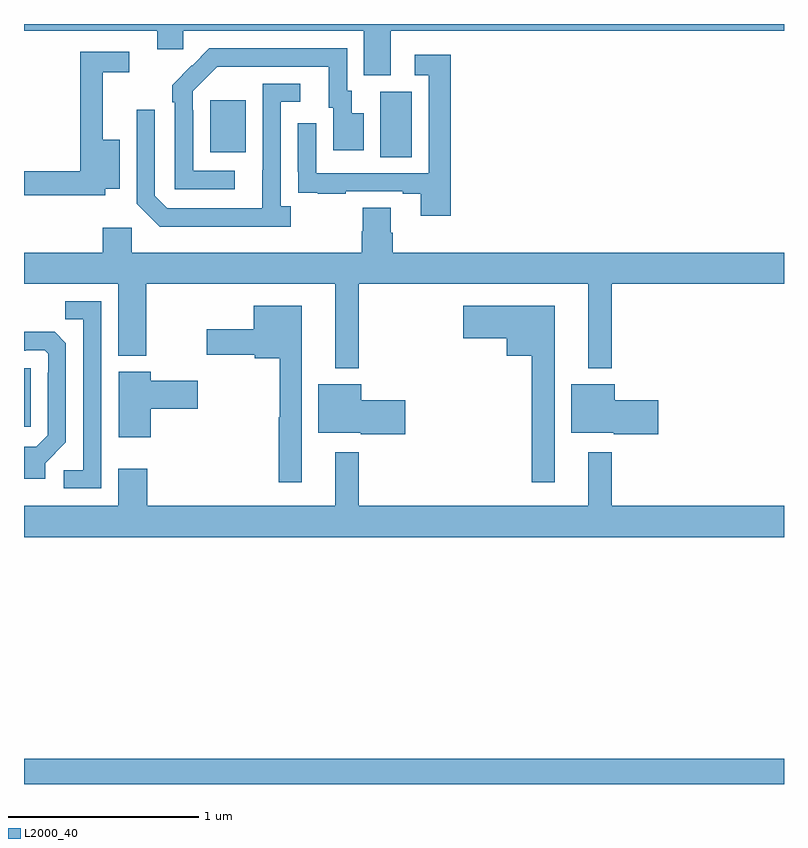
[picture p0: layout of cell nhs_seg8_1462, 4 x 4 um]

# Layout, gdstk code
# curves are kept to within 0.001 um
import gdstk
lib = gdstk.Library(unit=1e-6, precision=1e-09)
def R(c, l, rs):  # rectangles x0, y0, x1, y1
    for r in rs: c.add(gdstk.rectangle(r[:2], r[2:], *l))
def P(c, l, *ps):  # polygons
    for p in ps: c.add(gdstk.Polygon(p, *l))
L2000_40 = (2000, 40)

nhs_seg8_1462 = lib.new_cell('nhs_seg8_1462')
R(nhs_seg8_1462, L2000_40, [(205,1081.9,209,1082.032), (205,1083.78,205.035,1084.089), (206.876,1085.2,207.04,1085.544), (205.979,1085.225,206.167,1085.5)])
P(nhs_seg8_1462, L2000_40, [(206.929,1085.864),(209,1085.864),(209,1085.9),(205,1085.9),(205,1085.864),(205.7,1085.864),(205.7,1085.766),(205.839,1085.766),(205.839,1085.864),(206.789,1085.864),(206.789,1085.629),(206.929,1085.629)],
  [(206.11,1085.127),(205.89,1085.127),(205.89,1085.447),(205.887,1085.447),(205.887,1085.547),(206.016,1085.676),(206.603,1085.676),(206.603,1085.46),(206.627,1085.46),(206.627,1085.235),(206.788,1085.235),(206.788,1085.431),(206.725,1085.431),(206.725,1085.55),(206.7,1085.55),(206.7,1085.772),(205.976,1085.772),(205.779,1085.577),(205.779,1085.489),(205.794,1085.489),(205.794,1085.031),(206.11,1085.031)],
  [(205.428,1085.033),(205.504,1085.033),(205.504,1085.29),(205.415,1085.29),(205.415,1085.646),(205.555,1085.646),(205.555,1085.754),(205.297,1085.754),(205.297,1085.126),(205,1085.126),(205,1084.998),(205.428,1084.998)],
  [(207.245,1085.737),(207.057,1085.737),(207.057,1085.631),(207.129,1085.631),(207.129,1085.115),(206.538,1085.115),(206.538,1085.377),(206.442,1085.377),(206.442,1085.122),(206.443,1085.122),(206.443,1085.013),(206.545,1085.013),(206.545,1085.007),(206.693,1085.007),(206.693,1085.019),(206.993,1085.019),(206.993,1085.007),(207.089,1085.007),(207.089,1084.89),(207.245,1084.89)],
  [(206.404,1084.942),(206.352,1084.942),(206.352,1085.49),(206.455,1085.49),(206.455,1085.586),(206.256,1085.586),(206.255,1084.929),(205.755,1084.929),(205.689,1084.995),(205.689,1085.449),(205.593,1085.449),(205.593,1084.953),(205.714,1084.832),(206.404,1084.832)],
  [(206.761,1084.532),(207.971,1084.532),(207.971,1084.088),(208.093,1084.088),(208.093,1084.532),(209,1084.532),(209,1084.696),(206.942,1084.696),(206.942,1084.802),(206.929,1084.802),(206.929,1084.934),(206.782,1084.934),(206.782,1084.809),(206.777,1084.809),(206.777,1084.696),(205.566,1084.696),(205.566,1084.828),(205.415,1084.828),(205.415,1084.696),(205,1084.696),(205,1084.532),(205.496,1084.532),(205.496,1084.154),(205.644,1084.154),(205.644,1084.532),(206.639,1084.532),(206.639,1084.088),(206.761,1084.088)],
  [(205.407,1084.44),(205.216,1084.44),(205.216,1084.345),(205.311,1084.345),(205.311,1083.552),(205.209,1083.552),(205.209,1083.456),(205.407,1083.456)],
  [(206.461,1084.417),(206.21,1084.417),(206.21,1084.294),(205.962,1084.294),(205.962,1084.16),(206.214,1084.16),(206.214,1084.142),(206.347,1084.142),(206.347,1083.83),(206.34,1083.83),(206.34,1083.489),(206.461,1083.489)],
  [(207.793,1084.417),(207.312,1084.417),(207.312,1084.247),(207.542,1084.247),(207.542,1084.154),(207.672,1084.154),(207.672,1083.489),(207.793,1083.489)],
  [(205.111,1083.588),(205.221,1083.698),(205.221,1084.22),(205.162,1084.279),(205,1084.28),(205,1084.179),(205.01,1084.179),(205.01,1084.182),(205.11,1084.182),(205.128,1084.164),(205.128,1084.064),(205.125,1084.064),(205.125,1083.735),(205.065,1083.675),(205,1083.675),(205,1083.506),(205.111,1083.506)],
  [(205.666,1083.875),(205.915,1083.875),(205.915,1084.022),(205.666,1084.022),(205.666,1084.069),(205.499,1084.069),(205.499,1083.726),(205.666,1083.726)],
  [(207.007,1083.92),(206.776,1083.92),(206.776,1084.003),(206.549,1084.003),(206.549,1083.749),(206.772,1083.749),(206.772,1083.742),(207.007,1083.742)],
  [(208.339,1083.92),(208.108,1083.92),(208.108,1084.003),(207.881,1084.003),(207.881,1083.749),(208.104,1083.749),(208.104,1083.742),(208.339,1083.742)],
  [(209,1083.364),(208.093,1083.364),(208.093,1083.646),(207.971,1083.646),(207.971,1083.364),(206.761,1083.364),(206.761,1083.646),(206.639,1083.646),(206.639,1083.364),(205.649,1083.364),(205.649,1083.559),(205.496,1083.559),(205.496,1083.364),(205,1083.364),(205,1083.2),(209,1083.2)])

lib.write_gds('nhs_seg8_1462.gds')
